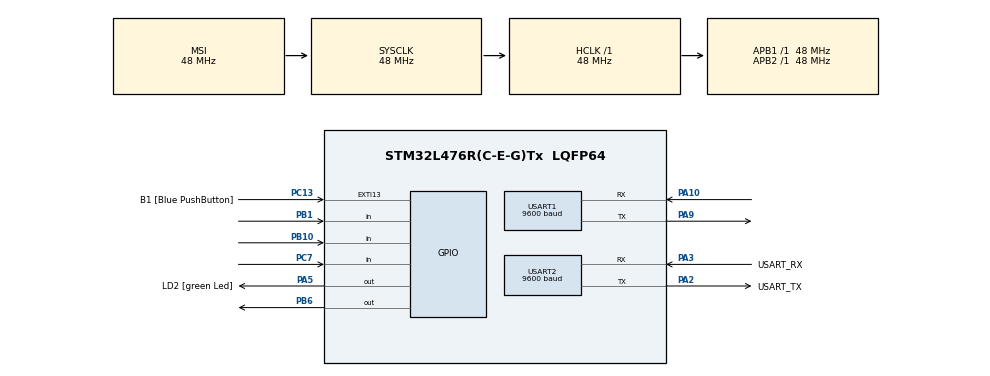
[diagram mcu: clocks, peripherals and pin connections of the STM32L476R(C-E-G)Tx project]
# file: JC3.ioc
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Mcu.Family=STM32L4
Mcu.Name=STM32L476R(C-E-G)Tx
Mcu.Package=LQFP64
NVIC.PriorityGroup=NVIC_PRIORITYGROUP_4
NVIC.RCC_IRQn=true\:0\:0\:false\:false\:true
NVIC.USART2_IRQn=true\:0\:0\:false\:false\:true
PA10.Mode=Asynchronous
PA10.Signal=USART1_RX
PA13.GPIO_Label=TMS
PA13.Mode=Serial_Wire
PA13.Signal=SYS_JTMS-SWDIO
PA14.GPIO_Label=TCK
PA14.Mode=Serial_Wire
PA14.Signal=SYS_JTCK-SWCLK
PA2.GPIO_Label=USART_TX
PA2.GPIO_Mode=GPIO_MODE_AF_PP
PA2.GPIO_PuPd=GPIO_NOPULL
PA2.GPIO_Speed=GPIO_SPEED_FREQ_VERY_HIGH
PA2.Mode=Asynchronous
PA2.Signal=USART2_TX
PA3.GPIO_Label=USART_RX
PA3.GPIO_Mode=GPIO_MODE_AF_PP
PA3.GPIO_PuPd=GPIO_NOPULL
PA3.GPIO_Speed=GPIO_SPEED_FREQ_VERY_HIGH
PA3.Mode=Asynchronous
PA3.Signal=USART2_RX
PA5.GPIO_Label=LD2 [green Led]
PA5.GPIO_ModeDefaultOutputPP=GPIO_MODE_OUTPUT_PP
PA5.GPIO_PuPd=GPIO_NOPULL
PA5.GPIO_Speed=GPIO_SPEED_FREQ_LOW
PA5.Signal=GPIO_Output
PA9.Mode=Asynchronous
PA9.Signal=USART1_TX
PB1.Signal=GPIO_Input
PB10.Signal=GPIO_Input
PB3.GPIO_Label=SWO
PB3.Signal=SYS_JTDO-SWO
PB6.GPIO_Speed=GPIO_SPEED_FREQ_MEDIUM
PB6.Signal=GPIO_Output
PC13.GPIO_Label=B1 [Blue PushButton]
PC13.GPIO_ModeDefaultEXTI=GPIO_MODE_IT_FALLING
PC13.GPIO_PuPd=GPIO_NOPULL
PC13.Signal=GPXTI13
PC14/OSC32_IN.Mode=LSE-External-Oscillator
PC14/OSC32_IN.Signal=RCC_OSC32_IN
PC15/OSC32_OUT.Mode=LSE-External-Oscillator
PC15/OSC32_OUT.Signal=RCC_OSC32_OUT
PC7.Signal=GPIO_Input
PH0/OSC_IN.Signal=RCC_OSC_IN
PH1/OSC_OUT.Signal=RCC_OSC_OUT
ProjectManager.HeapSize=0x200
ProjectManager.StackSize=0x400
ProjectManager.TargetToolchain=SW4STM32
RCC.ADCFreq_Value=64000000
RCC.AHBFreq_Value=48000000
RCC.APB1Freq_Value=48000000
RCC.APB1TimFreq_Value=48000000
RCC.APB2Freq_Value=48000000
RCC.APB2TimFreq_Value=48000000
RCC.CortexFreq_Value=48000000
RCC.HCLKFreq_Value=48000000
RCC.HSE_VALUE=8000000
RCC.HSI_VALUE=16000000
RCC.LPTIM1CLockSelection=RCC_LPTIM1CLKSOURCE_LSE
RCC.MSIClockRange=RCC_MSIRANGE_11
RCC.MSI_VALUE=48000000
RCC.PLLN=10
RCC.PLLSourceVirtual=RCC_PLLSOURCE_HSI
RCC.PREFETCH_ENABLE=1
RCC.SYSCLKFreq_VALUE=48000000
RCC.USBFreq_Value=64000000
RCC.VCOOutputFreq_Value=160000000
TIM6.Period=65535
TIM6.Prescaler=48
USART1.BaudRate=9600
USART1.WordLength=UART_WORDLENGTH_8B
USART2.BaudRate=9600
USART2.WordLength=UART_WORDLENGTH_8B
VP_TIM6_VS_ClockSourceINT.Mode=Enable_Timer
board=NUCLEO-L476RG

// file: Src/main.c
/**
  ******************************************************************************
  * File Name          : main.c
  * Description        : Main program body
  ******************************************************************************
  *
  * COPYRIGHT(c) 2017 STMicroelectronics
  *
  * Redistribution and use in source and binary forms, with or without modification,
  * are permitted provided that the following conditions are met:
  *   1. Redistributions of source code must retain the above copyright notice,
  *      this list of conditions and the following disclaimer.
  *   2. Redistributions in binary form must reproduce the above copyright notice,
  *      this list of conditions and the following disclaimer in the documentation
  *      and/or other materials provided with the distribution.
  *   3. Neither the name of STMicroelectronics nor the names of its contributors
  *      may be used to endorse or promote products derived from this software
  *      without specific prior written permission.
  *
  * THIS SOFTWARE IS PROVIDED BY THE COPYRIGHT HOLDERS AND CONTRIBUTORS "AS IS"
  * AND ANY EXPRESS OR IMPLIED WARRANTIES, INCLUDING, BUT NOT LIMITED TO, THE
  * IMPLIED WARRANTIES OF MERCHANTABILITY AND FITNESS FOR A PARTICULAR PURPOSE ARE
  * DISCLAIMED. IN NO EVENT SHALL THE COPYRIGHT HOLDER OR CONTRIBUTORS BE LIABLE
  * FOR ANY DIRECT, INDIRECT, INCIDENTAL, SPECIAL, EXEMPLARY, OR CONSEQUENTIAL
  * DAMAGES (INCLUDING, BUT NOT LIMITED TO, PROCUREMENT OF SUBSTITUTE GOODS OR
  * SERVICES; LOSS OF USE, DATA, OR PROFITS; OR BUSINESS INTERRUPTION) HOWEVER
  * CAUSED AND ON ANY THEORY OF LIABILITY, WHETHER IN CONTRACT, STRICT LIABILITY,
  * OR TORT (INCLUDING NEGLIGENCE OR OTHERWISE) ARISING IN ANY WAY OUT OF THE USE
  * OF THIS SOFTWARE, EVEN IF ADVISED OF THE POSSIBILITY OF SUCH DAMAGE.
  *
  ******************************************************************************
  */
#include "main.h"
#include "stm32l4xx_hal.h"
#include "tim.h"
#include "usart.h"
#include "gpio.h"

/* USER CODE BEGIN Includes */
#include "sensors_variables.h"
#include "gps/gps_handler.h"
#include "temperature/temperature_handler.h"
#include "water-level/waterlevel_handler.h"
/* USER CODE END Includes */

/* USER CODE BEGIN PV */
/* Private variables ---------------------------------------------------------*/

__IO ITStatus interrupt_flag = RESET;
uint8_t buff[SCANF_BUFFR];

/* USER CODE END PV */

void SystemClock_Config(void);
void Error_Handler(void);

/* USER CODE BEGIN PFP */
/* Private function prototypes -----------------------------------------------*/
void _invalid();
void _prompt();
void _scanf(uint8_t* c);
void _touppercase(uint8_t* buff);
void INITIALIZE_SENSOR_VARIABLES();
void INITIALIZE_SENSOR_HANDLERS();
void DISPLAY_MENU();
void SETUP();
void SETUP_SENSORS();
void SETUP_SAMPLING_PERIOD();
void SETUP_ALARMS();
void SETUP_WATERTANK_HEIGHT();
void SETUP_SUMMARY();
void RECEIVE_AND_PRINT_TEMPERATURE_AND_WATERLEVEL();
void RECEIVE_DATA_FROM_SENSORS();

#ifdef __GNUC__
/* With GCC, small printf (option LD Linker->Libraries->Small printf
   set to 'Yes') calls __io_putchar() */
#define PUTCHAR_PROTOTYPE int __io_putchar(int ch)
#else
#define PUTCHAR_PROTOTYPE int fputc(int ch, FILE *f)
#endif /* __GNUC__ */

/* USER CODE END PFP */

int main(void)
{

  /* MCU Configuration----------------------------------------------------------*/

  /* Reset of all peripherals, Initializes the Flash interface and the Systick. */
  HAL_Init();

  /* Configure the system clock */
  SystemClock_Config();

  /* Initialize all configured peripherals */
  MX_GPIO_Init();
  MX_USART2_UART_Init();
  MX_USART1_UART_Init();
  MX_TIM6_Init();

  /* USER CODE BEGIN 2 */
  HAL_NVIC_SetPriority(USART2_IRQn, 0, 0);
  HAL_NVIC_EnableIRQ(USART2_IRQn);

  /* *** Start to run the counter of the 1 Mhz-Timer ***
   * This timer is used for the Temperature and the Water-Level modules *** */
  HAL_TIM_Base_Start(&htim6);

  INITIALIZE_SENSOR_VARIABLES();

  /* USER CODE END 2 */

  /* Infinite loop */

  /* USER CODE BEGIN WHILE */

  while(1){
	  DISPLAY_MENU();

	  INITIALIZE_SENSOR_HANDLERS();

	  uint8_t esc = 0x00;
	  while(1){
		  HAL_UART_Receive_IT(&huart2, &esc, 1);
		  if(interrupt_flag){
			   interrupt_flag = RESET;
			   if(ESCAPE_CHARACTER(esc)){
				   HAL_UART_Abort_IT(&huart2);
				   break;
			   }
		  }
		  RECEIVE_DATA_FROM_SENSORS();
	  }
  }
  /* USER CODE END WHILE */

}

/** System Clock Configuration
*/
void SystemClock_Config(void)
{

  RCC_OscInitTypeDef RCC_OscInitStruct;
  RCC_ClkInitTypeDef RCC_ClkInitStruct;
  RCC_PeriphCLKInitTypeDef PeriphClkInit;

    /**Initializes the CPU, AHB and APB busses clocks
    */
  RCC_OscInitStruct.OscillatorType = RCC_OSCILLATORTYPE_LSE|RCC_OSCILLATORTYPE_MSI;
  RCC_OscInitStruct.LSEState = RCC_LSE_ON;
  RCC_OscInitStruct.MSIState = RCC_MSI_ON;
  RCC_OscInitStruct.MSICalibrationValue = 0;
  RCC_OscInitStruct.MSIClockRange = RCC_MSIRANGE_11;
  RCC_OscInitStruct.PLL.PLLState = RCC_PLL_NONE;
  if (HAL_RCC_OscConfig(&RCC_OscInitStruct) != HAL_OK)
  {
    Error_Handler();
  }

    /**Initializes the CPU, AHB and APB busses clocks
    */
  RCC_ClkInitStruct.ClockType = RCC_CLOCKTYPE_HCLK|RCC_CLOCKTYPE_SYSCLK
                              |RCC_CLOCKTYPE_PCLK1|RCC_CLOCKTYPE_PCLK2;
  RCC_ClkInitStruct.SYSCLKSource = RCC_SYSCLKSOURCE_MSI;
  RCC_ClkInitStruct.AHBCLKDivider = RCC_SYSCLK_DIV1;
  RCC_ClkInitStruct.APB1CLKDivider = RCC_HCLK_DIV1;
  RCC_ClkInitStruct.APB2CLKDivider = RCC_HCLK_DIV1;

  if (HAL_RCC_ClockConfig(&RCC_ClkInitStruct, FLASH_LATENCY_2) != HAL_OK)
  {
    Error_Handler();
  }

  PeriphClkInit.PeriphClockSelection = RCC_PERIPHCLK_USART1|RCC_PERIPHCLK_USART2;
  PeriphClkInit.Usart1ClockSelection = RCC_USART1CLKSOURCE_PCLK2;
  PeriphClkInit.Usart2ClockSelection = RCC_USART2CLKSOURCE_PCLK1;
  if (HAL_RCCEx_PeriphCLKConfig(&PeriphClkInit) != HAL_OK)
  {
    Error_Handler();
  }

    /**Configure LSE Drive Capability
    */
  __HAL_RCC_LSEDRIVE_CONFIG(RCC_LSEDRIVE_LOW);

    /**Configure the main internal regulator output voltage
    */
  if (HAL_PWREx_ControlVoltageScaling(PWR_REGULATOR_VOLTAGE_SCALE1) != HAL_OK)
  {
    Error_Handler();
  }

    /**Configure the Systick interrupt time
    */
  HAL_SYSTICK_Config(HAL_RCC_GetHCLKFreq()/1000);

    /**Configure the Systick
    */
  HAL_SYSTICK_CLKSourceConfig(SYSTICK_CLKSOURCE_HCLK);

    /**Enable MSI Auto calibration
    */
  HAL_RCCEx_EnableMSIPLLMode();

  /* SysTick_IRQn interrupt configuration */
  HAL_NVIC_SetPriority(SysTick_IRQn, 0, 0);
}

/* USER CODE BEGIN 4 */
/***
 *
 */

PUTCHAR_PROTOTYPE {
  /* Place your implementation of fputc here */
  /* e.g. write a character to the USART1 and Loop until the end of transmission */
  HAL_UART_Transmit(&huart2, (uint8_t *)&ch, 1, 0xFFFF);
  return ch;
}

void RECEIVE_DATA_FROM_SENSORS(){
	if(GPS_MODULE_ON){
		/*** Case #1: Since GPS is activated, temperature and water-level measurements
		 * are synchronized with the arrival of NMEA messages ***/
		GPS_HANDLER_Receive();
		if(GPS_HANDLER_NMEA_MESSAGE_Received() == true){
			GPS_HANDLER_NMEA_Print();

			RECEIVE_AND_PRINT_TEMPERATURE_AND_WATERLEVEL();

			HAL_Delay(SAMPLING_PERIOD - 999);
			MX_USART1_UART_Init();
		}
	}else{
		/*** Case #2: GPS is not activated, let temperature and water-level modules
		 * operate at their configured sampling period ***/
		RECEIVE_AND_PRINT_TEMPERATURE_AND_WATERLEVEL();
		HAL_Delay(SAMPLING_PERIOD);
	}
}

void RECEIVE_AND_PRINT_TEMPERATURE_AND_WATERLEVEL(){
	 if(TEMPERATURE_MODULE_ON){
		 TEMPERATURE_HANDLER_Receive();
		 TEMPERATURE_HANDLER_Print();
		 HAL_Delay(50);
	 }
	 if(WATERLEVEL_MODULE_ON){
		 WATERLEVEL_HANDLER_Receive();
		 WATERLEVEL_HANDLER_Print();
	 }
}

void INITIALIZE_SENSOR_HANDLERS(){
	  if(GPS_MODULE_ON){
		  GPS_HANDLER_INIT();
	  }
	  if(TEMPERATURE_MODULE_ON){
		  TEMPERATURE_HANDLER_INIT();
	  }
	  if(WATERLEVEL_MODULE_ON){
		  WATERLEVEL_HANDLER_INIT();
	  }
}

void INITIALIZE_SENSOR_VARIABLES(){
	GPS_MODULE_ON = DEFAULT_STATE_GPS_MODULE;
	TEMPERATURE_MODULE_ON = DEFAULT_STATE_TEMPERATURE_MODULE;
	WATERLEVEL_MODULE_ON = DEFAULT_STATE_WATERLEVEL_MODULE;
	SAMPLING_PERIOD = DEFAULT_SAMPLINMG_PERIOD;
	WATERTANK_HEIGHT = SENSOR_VARIABLE_UNINITIALZED;
	TEMPERATURE_MAX_THRESHOLD = SENSOR_VARIABLE_UNINITIALZED;
	TEMPERATURE_MIN_THRESHOLD = SENSOR_VARIABLE_UNINITIALZED;
	WATERLEVEL_MAX_THRESHOLD = SENSOR_VARIABLE_UNINITIALZED;
	WATERLEVEL_MIN_THRESHOLD = SENSOR_VARIABLE_UNINITIALZED;
}

void HAL_UART_RxCpltCallback(UART_HandleTypeDef *UartHandle)
{
	/* Set transmission flag: transfer complete */
	interrupt_flag = SET;
}

void _invalid(){
	printf("Invalid choice. Please verify.\r\n");
}

void _prompt(){
	HAL_UART_Transmit(&huart2, PROMPT, 1, HAL_MAX_DELAY);
}

void _choose_option(){
	HAL_UART_Transmit(&huart2, (uint8_t*) "Choose your option: ", strlen("Choose your option: "), HAL_MAX_DELAY);
}

void _scanf(uint8_t* buffp){
	memset(buffp, 0, SCANF_BUFFR);
	uint8_t* p = buffp;
	uint8_t c = 0x00;
	while(1){
		HAL_UART_Receive(&huart2, (uint8_t*) &c, 1, HAL_MAX_DELAY);
		HAL_UART_Transmit(&huart2, (uint8_t*) &c, 1, HAL_MAX_DELAY);
		*p++ = c == 0x0D ? 0x00 : c;
		if(c == 0x0D){
			break;
		}
	}
	HAL_UART_Transmit(&huart2, (uint8_t*)"\r\n", 2, HAL_MAX_DELAY);
}

void _touppercase(uint8_t* buff){
	uint8_t* p = buff;
	while(*p){
		*p = (uint8_t) toupper(*p);
		p++;
	}
}

void DISPLAY_MENU(){
	printf("\033[0;0H\033[2J");
	printf("******************************************************************\r\n");
	printf(WELCOME_MESSAGE);
	printf("******************************************************************\r\n");
	while(1){
		_prompt();
		_scanf((uint8_t*) buff);
		_touppercase(buff);
		if(!strcmp(SETUP_COMMAND, buff)){
			SETUP();
			continue;
		}
		if(!strcmp(START_COMMAND, buff)){
			printf("\r\n******************************************************************\r\n");
			printf("Executing sensors. . . . . .\r\n\r\n");
			break;
		}
		if(!strcmp(CLEAN_COMMAND, buff)){
			printf("\033[0;0H\033[2J");
			printf("******************************************************************\r\n");
			printf(WELCOME_MESSAGE);
			printf("******************************************************************\r\n");
			continue;
		}
		_invalid();
	}
}

void SETUP(){
	while(1){
		printf(SETUP_MESSAGE);
		_choose_option();
		_scanf(buff);
		uint8_t option = (uint8_t) buff[0];
		if(strlen(buff) > 1 || option <= 0x30 || option >= 0x36){
			_invalid();
		}else{
			switch(option){
				case 0x31:	SETUP_SENSORS();
							break;
				case 0x32:	SETUP_SAMPLING_PERIOD();
							break;
				case 0x33:	SETUP_WATERTANK_HEIGHT();
							break;
				case 0x34:	SETUP_ALARMS();
							break;
			}
			if(option == 0x35){
				SETUP_SUMMARY();
				break;
			}
		}
	}
}

void SETUP_SUMMARY(){
	printf("\r\nSensors setup summary (non-configured values has been set with default values)");
	printf("\r\nGPS Module will be turned %s!...\r\n", GPS_MODULE_ON ? OPTION_ON : OPTION_OFF);
	printf("Temperature Module will be turned %s!...\r\n", TEMPERATURE_MODULE_ON ? OPTION_ON : OPTION_OFF);
	printf("Water-Level will be turned %s!...\r\n", WATERLEVEL_MODULE_ON ? OPTION_ON : OPTION_OFF);
	printf("Sampling period has been set to %d milliseconds!...\r\n", SAMPLING_PERIOD);

	if(WATERTANK_HEIGHT != SENSOR_VARIABLE_UNINITIALZED){
		uint32_t watertank_height = (uint32_t) (WATERTANK_HEIGHT * WATERLEVEL_SCALER);
		printf("Water-tank capacity (height on centimeters) set on %d cm scaler: %d \r\n", watertank_height, WATERLEVEL_SCALER);
	}

	if(TEMPERATURE_MODULE_ON == SET && TEMPERATURE_MIN_THRESHOLD != SENSOR_VARIABLE_UNINITIALZED && TEMPERATURE_MAX_THRESHOLD != SENSOR_VARIABLE_UNINITIALZED){
		int32_t temperature_min = (int32_t) (TEMPERATURE_MIN_THRESHOLD * TEMPERATURE_SCALER);
		int32_t temperature_max = (int32_t) (TEMPERATURE_MAX_THRESHOLD * TEMPERATURE_SCALER);
		printf("Temperature thresholds set on min: %d max: %d celsius degrees scaler: %d\r\n", temperature_min, temperature_max, TEMPERATURE_SCALER);
	}

	if(WATERLEVEL_MODULE_ON == SET && WATERTANK_HEIGHT != SENSOR_VARIABLE_UNINITIALZED && WATERLEVEL_MAX_THRESHOLD != SENSOR_VARIABLE_UNINITIALZED){
		uint32_t waterlevel_min = (uint32_t) (WATERLEVEL_MIN_THRESHOLD * WATERLEVEL_SCALER);
		uint32_t waterlevel_max = (uint32_t) (WATERLEVEL_MAX_THRESHOLD * WATERLEVEL_SCALER);
		printf("Water-level thresholds set on min: %d max: %d centimeters scaler: %d\r\n", waterlevel_min, waterlevel_max, WATERLEVEL_SCALER);
	}
	printf("\r\n");
}

void SETUP_SENSORS(){
	while(1){
		while(1){
			HAL_UART_Transmit(&huart2, GPS_MODULE_ON_MESSAGE, strlen(GPS_MODULE_ON_MESSAGE), HAL_MAX_DELAY);
			_scanf(buff);
			if( !strcmp(buff, OPTION_ON) || !strcmp(buff, OPTION_OFF)){
				GPS_MODULE_ON = !strcmp(buff, OPTION_ON) ? SET : RESET;
				break;
			}
			_invalid();
		}
		while(1){
			HAL_UART_Transmit(&huart2, TEMPERATURE_MODULE_ON_MESSAGE, strlen(TEMPERATURE_MODULE_ON_MESSAGE), HAL_MAX_DELAY);
			_scanf(buff);
			if( !strcmp(buff, OPTION_ON) || !strcmp(buff, OPTION_OFF)){
				TEMPERATURE_MODULE_ON = !strcmp(buff, OPTION_ON) ? SET : RESET;
				break;
			}
			_invalid();
		}
		while(1){
			HAL_UART_Transmit(&huart2, WATERLEVEL_MODULE_ON_MESSAGE, strlen(WATERLEVEL_MODULE_ON_MESSAGE), HAL_MAX_DELAY);
			_scanf(buff);
			if( !strcmp(buff, OPTION_ON) || !strcmp(buff, OPTION_OFF)){
				WATERLEVEL_MODULE_ON = !strcmp(buff, OPTION_ON) ? SET : RESET;
				break;
			}
			_invalid();
		}
		if(GPS_MODULE_ON == SET || TEMPERATURE_MODULE_ON == SET || WATERLEVEL_MODULE_ON == SET){
			break;
		}
		_invalid(); // At least one module must be ON
	}

	printf("\r\nGPS Module will be turned %s!...\r\n", GPS_MODULE_ON ? OPTION_ON : OPTION_OFF);
	printf("Temperature Module will be turned %s!...\r\n", TEMPERATURE_MODULE_ON ? OPTION_ON : OPTION_OFF);
	printf("Water-Level will be turned %s!...\r\n", WATERLEVEL_MODULE_ON ? OPTION_ON : OPTION_OFF);
}

void SETUP_SAMPLING_PERIOD(){
	while(1){
		HAL_UART_Transmit(&huart2, (uint8_t*)SAMPLING_PERIOD_MESSAGE, strlen(SAMPLING_PERIOD_MESSAGE), HAL_MAX_DELAY);
		_scanf(buff);
		SAMPLING_PERIOD = (uint16_t) strtoul(buff, 0x00, 10);
		if(SAMPLING_PERIOD >= 1000){
			break;
		}
		_invalid();
	}
	printf("\r\n Sampling period has been set to %d milliseconds!...\r\n", SAMPLING_PERIOD);
}

void SETUP_WATERTANK_HEIGHT(){
	while(1){
		HAL_UART_Transmit(&huart2, (uint8_t*)WATERLEVEL_TANKCAPACITY_MESSAGE, strlen(WATERLEVEL_TANKCAPACITY_MESSAGE), HAL_MAX_DELAY);
		_scanf(buff);
		WATERTANK_HEIGHT = (float_t) strtof(buff, 0x00);
		if(WATERTANK_HEIGHT > 0){
			break;
		}
		_invalid();
	}

	uint32_t watertank_height = (uint32_t) (WATERTANK_HEIGHT * WATERLEVEL_SCALER);
	printf("Water-tank capacity (height on centimeters) set on %d cm scaler: %d \r\n", watertank_height, WATERLEVEL_SCALER);
}

void SETUP_ALARMS(){

	if(TEMPERATURE_MODULE_ON == RESET && WATERLEVEL_MODULE_ON == RESET){
		HAL_UART_Transmit(&huart2, (uint8_t*) "Please activate the temperature or/and water-level module\r\n", sizeof("Please activate the temperature or/and water-level module\r\n"), HAL_MAX_DELAY);
		return;
	}

	if(TEMPERATURE_MODULE_ON == SET){
		while(1){
			HAL_UART_Transmit(&huart2, (uint8_t*)TEMPERATURE_THRESHOLD_MIN_MESSAGE, strlen(TEMPERATURE_THRESHOLD_MIN_MESSAGE), HAL_MAX_DELAY);
			_scanf(buff);
			TEMPERATURE_MIN_THRESHOLD = (float_t) strtof(buff, 0x00);
			HAL_UART_Transmit(&huart2, (uint8_t*)TEMPERATURE_THRESHOLD_MAX_MESSAGE, strlen(TEMPERATURE_THRESHOLD_MAX_MESSAGE), HAL_MAX_DELAY);
			_scanf(buff);
			TEMPERATURE_MAX_THRESHOLD = (float_t) strtof(buff, 0x00);
			if(TEMPERATURE_MAX_THRESHOLD > TEMPERATURE_MIN_THRESHOLD && TEMPERATURE_VALID_THRESHOLD(TEMPERATURE_MAX_THRESHOLD) && TEMPERATURE_VALID_THRESHOLD(TEMPERATURE_MIN_THRESHOLD)){
				break;
			}
			_invalid();
		}
	}
	if(WATERLEVEL_MODULE_ON == SET){
		if(WATERTANK_HEIGHT != SENSOR_VARIABLE_UNINITIALZED){
			while(1){
				HAL_UART_Transmit(&huart2, (uint8_t*)WATERLEVEL_THRESHOLD_MIN_MESSAGE, strlen(WATERLEVEL_THRESHOLD_MIN_MESSAGE), HAL_MAX_DELAY);
				_scanf(buff);
				WATERLEVEL_MIN_THRESHOLD = (float_t) strtof(buff, 0x00);
				HAL_UART_Transmit(&huart2, (uint8_t*)WATERLEVEL_THRESHOLD_MAX_MESSAGE, strlen(WATERLEVEL_THRESHOLD_MAX_MESSAGE), HAL_MAX_DELAY);
				_scanf(buff);
				WATERLEVEL_MAX_THRESHOLD = (float_t) strtof(buff, 0x00);
				if(WATERLEVEL_MIN_THRESHOLD >= 0 && WATERLEVEL_MAX_THRESHOLD > 0
						&& WATERLEVEL_VALID_THRESHOLD(WATERLEVEL_MIN_THRESHOLD, WATERTANK_HEIGHT)
						&& WATERLEVEL_VALID_THRESHOLD(WATERLEVEL_MAX_THRESHOLD, WATERTANK_HEIGHT)){
					break;
				}
				_invalid();
			}
		}else{
			HAL_UART_Transmit(&huart2, (uint8_t*)"To establish water-level thresholds please set water-tank capacity.\r\n", strlen((uint8_t*)"To establish water-level thresholds please set water-tank capacity.\r\n"), HAL_MAX_DELAY);
		}
	}

	if(TEMPERATURE_MODULE_ON == SET){
		int32_t temperature_min = (int32_t) (TEMPERATURE_MIN_THRESHOLD * TEMPERATURE_SCALER);
		int32_t temperature_max = (int32_t) (TEMPERATURE_MAX_THRESHOLD * TEMPERATURE_SCALER);
		printf("Temperature thresholds set on min: %d max: %d celsius degrees scaler: %d\r\n", temperature_min, temperature_max, TEMPERATURE_SCALER);
	}

	if(WATERLEVEL_MODULE_ON == SET && WATERTANK_HEIGHT != SENSOR_VARIABLE_UNINITIALZED){
		uint32_t waterlevel_min = (uint32_t) (WATERLEVEL_MIN_THRESHOLD * WATERLEVEL_SCALER);
		uint32_t waterlevel_max = (uint32_t) (WATERLEVEL_MAX_THRESHOLD * WATERLEVEL_SCALER);
		printf("Water-level thresholds set on min: %d max: %d centimeters scaler: %d\r\n", waterlevel_min, waterlevel_max, WATERLEVEL_SCALER);
	}
}

/* USER CODE END 4 */

void Error_Handler(void)
{
  while(1)
  {
  }
}

/************************ (C) COPYRIGHT STMicroelectronics *****END OF FILE****/
